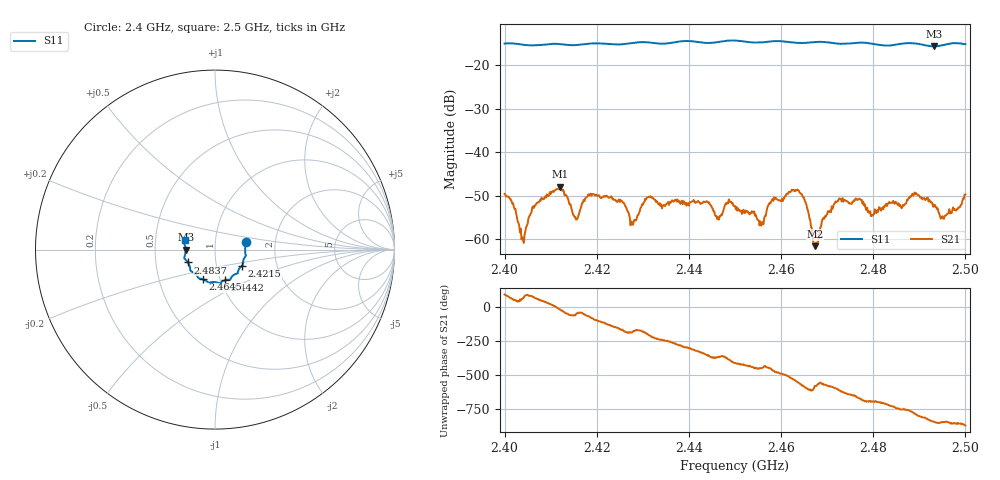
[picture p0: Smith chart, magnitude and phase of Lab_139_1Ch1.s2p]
# Hz S RI R
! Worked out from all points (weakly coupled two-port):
!   601 points, 2.4 GHz to 2.5 GHz, reference 50 ohm
!   highest |S21| = -47.89 dB at 2.412 GHz (marker M1); lowest = -61.5 dB at 2.4673 GHz (marker M2)
!   lowest |S11| = -15.7 dB at 2.4932 GHz (marker M3), VSWR 1.39, Z = 36 - j0.0434 ohm
!   |S11| at or under -10 dB: start of sweep to end of sweep
!   S12 and S22 are empty: the file has one direction only
!   S11 on the Smith chart (normalised r, x): 2.4 GHz: 1.41, +0.12; 2.4215 GHz: 1.33, -0.25; 2.4442 GHz: 1.05, -0.37; 2.4645 GHz: 0.83, -0.29; 2.4837 GHz: 0.73, -0.11; 2.5 GHz: 0.71, +0.07
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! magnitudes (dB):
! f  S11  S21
! 2.4 GHz  -15.1  -49.6
! 2.4038 GHz  -15.3  -59.5
! 2.4065 GHz  -15.5  -52.2
! 2.412 GHz  -15.2  -47.9
! 2.4153 GHz  -15.5  -54.9
! 2.4167 GHz  -15.3  -52.3
! 2.4215 GHz  -15.1  -50.1
! 2.4278 GHz  -15.0  -56.7
! 2.4333 GHz  -15.1  -51.9
! 2.4442 GHz  -15.0  -51.5
! 2.45 GHz  -14.4  -52.3
! 2.4557 GHz  -14.8  -56.8
! 2.4583 GHz  -14.5  -51.2
! 2.4645 GHz  -15.0  -49.6
! 2.4667 GHz  -14.8  -57.4
! 2.4673 GHz  -14.8  -61.5
! 2.4723 GHz  -15.1  -51.2
! 2.4833 GHz  -15.6  -51.6
! 2.4837 GHz  -15.5  -51.7
! 2.4932 GHz  -15.7  -52.4
! 2.4952 GHz  -15.4  -55.1
! 2.5 GHz  -15.2  -49.7
